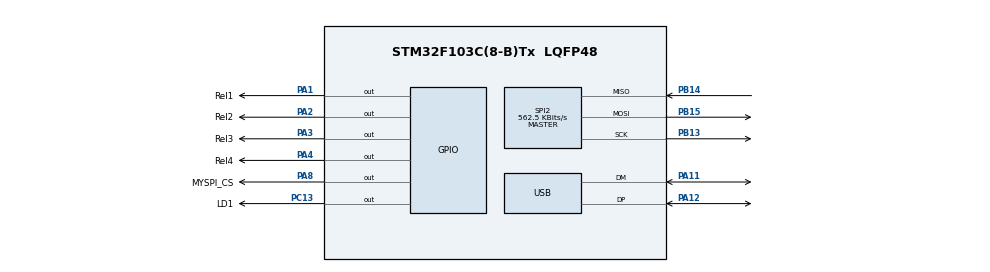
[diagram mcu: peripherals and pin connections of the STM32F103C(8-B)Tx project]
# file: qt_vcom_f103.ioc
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Mcu.Family=STM32F1
Dma.SPI2_TX.0.MemInc=DMA_MINC_ENABLE
USB_DEVICE.CLASS_NAME_FS=CDC
Dma.SPI2_RX.1.MemDataAlignment=DMA_MDATAALIGN_BYTE
NVIC.DMA1_Channel5_IRQn=true\:0\:0\:false\:false\:true\:false\:true
PD1-OSC_OUT.Mode=HSE-External-Oscillator
SPI2.VirtualType=VM_MASTER
USB_DEVICE.VirtualModeFS=Cdc_FS
PC13-TAMPER-RTC.Signal=GPIO_Output
RCC.USBPrescaler=RCC_USBCLKSOURCE_PLL_DIV1_5
PA11.Mode=Device
PD0-OSC_IN.Signal=RCC_OSC_IN
RCC.APB1CLKDivider=RCC_HCLK_DIV2
Dma.SPI2_RX.1.Mode=DMA_NORMAL
PB13.Signal=SPI2_SCK
PB15.Signal=SPI2_MOSI
Dma.SPI2_TX.0.Instance=DMA1_Channel5
Dma.SPI2_RX.1.Direction=DMA_PERIPH_TO_MEMORY
RCC.SYSCLKSource=RCC_SYSCLKSOURCE_PLLCLK
ProjectManager.StackSize=0x400
PD1-OSC_OUT.Signal=RCC_OSC_OUT
Dma.SPI2_TX.0.MemDataAlignment=DMA_MDATAALIGN_BYTE
PA13.Signal=SYS_JTMS-SWDIO
Dma.SPI2_RX.1.PeriphDataAlignment=DMA_PDATAALIGN_BYTE
PA12.Signal=USB_DP
PA8.GPIO_Label=MYSPI_CS
SPI2.CLKPolarity=SPI_POLARITY_LOW
ProjectManager.TargetToolchain=STM32CubeIDE
RCC.HCLKFreq_Value=72000000
VP_USB_DEVICE_VS_USB_DEVICE_CDC_FS.Mode=CDC_FS
RCC.APB2TimFreq_Value=72000000
RCC.USBFreq_Value=48000000
Dma.SPI2_TX.0.Mode=DMA_NORMAL
PA1.Signal=GPIO_Output
RCC.AHBFreq_Value=72000000
SPI2.BaudRatePrescaler=SPI_BAUDRATEPRESCALER_64
PD0-OSC_IN.Mode=HSE-External-Oscillator
PB14.Signal=SPI2_MISO
board=custom
PC13-TAMPER-RTC.GPIO_Label=LD1
RCC.PLLMUL=RCC_PLL_MUL9
PB15.Mode=Full_Duplex_Master
RCC.APB2Freq_Value=72000000
PC13-TAMPER-RTC.PinState=GPIO_PIN_SET
Dma.SPI2_RX.1.Priority=DMA_PRIORITY_MEDIUM
PA14.Mode=Serial_Wire
Dma.SPI2_TX.0.PeriphDataAlignment=DMA_PDATAALIGN_BYTE
PB14.Mode=Full_Duplex_Master
NVIC.USB_LP_CAN1_RX0_IRQn=true\:0\:0\:false\:false\:true\:false\:true
PA1.GPIO_Label=Rel1
SPI2.CalculateBaudRate=562.5 KBits/s
PA8.Signal=GPIO_Output
NVIC.SPI2_IRQn=true\:0\:0\:false\:false\:true\:true\:true
PA13.Mode=Serial_Wire
Mcu.Name=STM32F103C(8-B)Tx
Dma.SPI2_RX.1.PeriphInc=DMA_PINC_DISABLE
PA2.Signal=GPIO_Output
PA4.Signal=GPIO_Output
Dma.SPI2_TX.0.Priority=DMA_PRIORITY_LOW
RCC.SYSCLKFreq_VALUE=72000000
Mcu.Package=LQFP48
SPI2.Mode=SPI_MODE_MASTER
PA12.Mode=Device
PA2.GPIO_Label=Rel2
PA11.Signal=USB_DM
PA14.Signal=SYS_JTCK-SWCLK
ProjectManager.HeapSize=0x200
Dma.SPI2_RX.1.Instance=DMA1_Channel4
SPI2.CLKPhase=SPI_PHASE_1EDGE
Dma.SPI2_TX.0.PeriphInc=DMA_PINC_DISABLE
NVIC.PriorityGroup=NVIC_PRIORITYGROUP_4
Dma.Request1=SPI2_RX
RCC.APB1TimFreq_Value=72000000
SPI2.Direction=SPI_DIRECTION_2LINES
PB13.Mode=Full_Duplex_Master
NVIC.DMA1_Channel4_IRQn=true\:0\:0\:false\:false\:true\:false\:true
Dma.SPI2_TX.0.Direction=DMA_MEMORY_TO_PERIPH
Dma.Request0=SPI2_TX
RCC.APB1Freq_Value=36000000
USB_DEVICE.VirtualMode=Cdc
PA4.GPIO_Label=Rel4
Dma.SPI2_RX.1.MemInc=DMA_MINC_ENABLE
PA8.PinState=GPIO_PIN_SET
PA3.GPIO_Label=Rel3
PA3.Signal=GPIO_Output

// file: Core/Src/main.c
/* USER CODE BEGIN Header */
/**
  ******************************************************************************
  * @file           : main.c
  * @brief          : Main program body
  ******************************************************************************
  * @attention
  *
  * <h2><center>&copy; Copyright (c) 2021 STMicroelectronics.
  * All rights reserved.</center></h2>
  *
  * This software component is licensed by ST under BSD 3-Clause license,
  * the "License"; You may not use this file except in compliance with the
  * License. You may obtain a copy of the License at:
  *                        opensource.org/licenses/BSD-3-Clause
  *
  ******************************************************************************
  */
/* USER CODE END Header */
#include "main.h"
#include "dma.h"
#include "spi.h"
#include "usb_device.h"
#include "gpio.h"

/* USER CODE BEGIN Includes */
#include "usbd_cdc_if.h"
#include "stdio.h"
#include "bme280_lib.h"
/* USER CODE END Includes */

void SystemClock_Config(void);

/* USER CODE BEGIN 0 */
uint8_t mainBuff[B_SIZE]={0xf2,0,0,0,0,0,0,0,0,0,0,0,0,0,};
uint8_t data1[50]={"this is an example message\n"};
 uint8_t recBuffer[64];
 uint8_t recBufferSPI2[64];
_Bool isReceiveComplete=0;
_Bool isAnswerAllowed=0;
int _write(int file, char *ptr,int len)
{
	int i=0;
	for(i=0;i<len;i++)
		ITM_SendChar((*ptr++));
return len;
}
/* USER CODE END 0 */

int main(void)
{

  /* MCU Configuration--------------------------------------------------------*/

  /* Reset of all peripherals, Initializes the Flash interface and the Systick. */
  HAL_Init();

  /* Configure the system clock */
  SystemClock_Config();

  /* Initialize all configured peripherals */
  MX_GPIO_Init();
  MX_DMA_Init();
  MX_USB_DEVICE_Init();
  MX_SPI2_Init();
  /* USER CODE BEGIN 2 */
  LL_GPIO_SetOutputPin(Rel1_GPIO_Port, Rel1_Pin);
  LL_GPIO_SetOutputPin(Rel2_GPIO_Port, Rel2_Pin);
  LL_GPIO_SetOutputPin(Rel3_GPIO_Port, Rel3_Pin);
  LL_GPIO_SetOutputPin(Rel4_GPIO_Port, Rel4_Pin);
//  uint8_t getdevid[2]={0xD0,0};
//  uint8_t config_hum[2]={(0xF2 & 0x7F),0x02};
//  uint8_t config_ctrl_meas[2]={(0xF4 & 0x7F),0x4B};
  uint8_t readburst3_fullbit[11]={0xF7,0,0,0,0,0,0,0,0,0,0};

  //set the bme 280

//  spi_half_init(&spi2);
//spi2.is_receive_complete=1;
//while(spi2.is_receive_complete==0){	//wait for finishing
//}
//spi_half_send(&spi2, getdevid,2);
//while(spi2.is_receive_complete==0);	//wait for finishing
//spi_half_send(&spi2, config_hum,2);
//while(spi2.is_receive_complete==0);	//wait for finishing
//spi_half_send(&spi2, config_ctrl_meas,2);
  bme280_init(&bme280_2,BME280_READOUT_20bit, BME280_READOUT_20bit, BME280_READOUT_20bit);
  /* USER CODE END 2 */

  /* Infinite loop */
  /* USER CODE BEGIN WHILE */
  while (1)
  {
//	   CDC_Transmit_FS(data1,29);
//	  while(spi2.is_receive_complete==0){
		  //wait for finishing
//	  }
//example
//		spi2.is_answer_allowed=1;
//		spi_half_send_n_receive(&spi2, readburst3_fullbit, 10, recBufferSPI2, 10);
	  bme280_get_burst(&bme280_2);
//	  	 	CDC_Transmit_FS(recBufferSPI2, 8);
	  switch (recBuffer[0]) {
		case 0x11:
			LL_GPIO_ResetOutputPin(Rel1_GPIO_Port, Rel1_Pin);
			break;
		case 0x01:
			LL_GPIO_SetOutputPin(Rel1_GPIO_Port, Rel1_Pin);
			break;
		case 0x12:
			LL_GPIO_ResetOutputPin(Rel2_GPIO_Port, Rel2_Pin);
			break;
		case 0x02:
			LL_GPIO_SetOutputPin(Rel2_GPIO_Port, Rel2_Pin);
			break;
		case 0x14:
			LL_GPIO_ResetOutputPin(Rel3_GPIO_Port, Rel3_Pin);
			break;
		case 0x04:
			LL_GPIO_SetOutputPin(Rel3_GPIO_Port, Rel3_Pin);
			break;
		case 0x18:
			LL_GPIO_ResetOutputPin(Rel4_GPIO_Port, Rel4_Pin);
			break;
		case 0x08:
			LL_GPIO_SetOutputPin(Rel4_GPIO_Port, Rel4_Pin);
			break;
		default:
			break;
	}
	  CDC_Transmit_FS(recBufferSPI2, 10);

    /* USER CODE END WHILE */

  }
}

void SystemClock_Config(void)
{
  LL_FLASH_SetLatency(LL_FLASH_LATENCY_2);
  while(LL_FLASH_GetLatency()!= LL_FLASH_LATENCY_2)
  {
  }
  LL_RCC_HSE_Enable();

   /* Wait till HSE is ready */
  while(LL_RCC_HSE_IsReady() != 1)
  {

  }
  LL_RCC_PLL_ConfigDomain_SYS(LL_RCC_PLLSOURCE_HSE_DIV_1, LL_RCC_PLL_MUL_9);
  LL_RCC_PLL_Enable();

   /* Wait till PLL is ready */
  while(LL_RCC_PLL_IsReady() != 1)
  {

  }
  LL_RCC_SetAHBPrescaler(LL_RCC_SYSCLK_DIV_1);
  LL_RCC_SetAPB1Prescaler(LL_RCC_APB1_DIV_2);
  LL_RCC_SetAPB2Prescaler(LL_RCC_APB2_DIV_1);
  LL_RCC_SetSysClkSource(LL_RCC_SYS_CLKSOURCE_PLL);

   /* Wait till System clock is ready */
  while(LL_RCC_GetSysClkSource() != LL_RCC_SYS_CLKSOURCE_STATUS_PLL)
  {

  }
  LL_SetSystemCoreClock(72000000);

   /* Update the time base */
  if (HAL_InitTick (TICK_INT_PRIORITY) != HAL_OK)
  {
    Error_Handler();
  }
  LL_RCC_SetUSBClockSource(LL_RCC_USB_CLKSOURCE_PLL_DIV_1_5);
}

void Error_Handler(void)
{
  __disable_irq();
  while (1)
  {
  }
}

/************************ (C) COPYRIGHT STMicroelectronics *****END OF FILE****/
